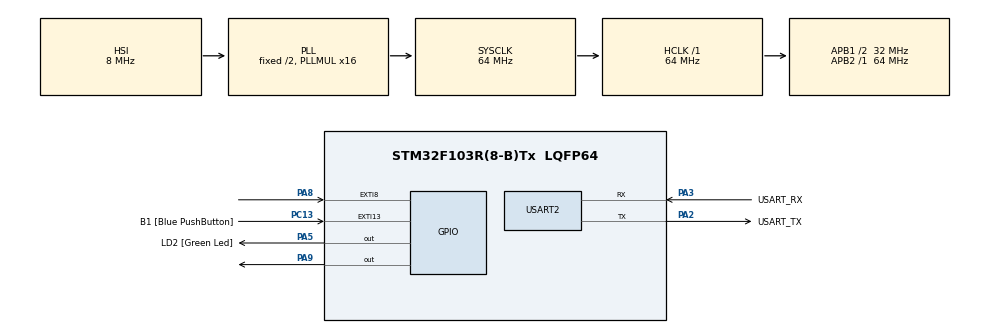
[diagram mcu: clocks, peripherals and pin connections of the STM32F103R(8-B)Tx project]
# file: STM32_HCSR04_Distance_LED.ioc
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Mcu.Family=STM32F1
Mcu.Name=STM32F103R(8-B)Tx
Mcu.Package=LQFP64
NVIC.EXTI15_10_IRQn=true\:0\:0\:false\:false\:true\:true\:true\:true
NVIC.EXTI9_5_IRQn=true\:0\:0\:false\:false\:true\:true\:true\:true
NVIC.PriorityGroup=NVIC_PRIORITYGROUP_4
PA13.GPIO_Label=TMS
PA13.Mode=Serial_Wire
PA13.Signal=SYS_JTMS-SWDIO
PA14.GPIO_Label=TCK
PA14.Mode=Serial_Wire
PA14.Signal=SYS_JTCK-SWCLK
PA2.GPIO_Label=USART_TX
PA2.GPIO_Mode=GPIO_MODE_AF_PP
PA2.GPIO_PuPd=GPIO_NOPULL
PA2.GPIO_Speed=GPIO_SPEED_FREQ_LOW
PA2.Mode=Asynchronous
PA2.Signal=USART2_TX
PA3.GPIO_Label=USART_RX
PA3.GPIO_Mode=GPIO_MODE_AF_PP
PA3.GPIO_PuPd=GPIO_NOPULL
PA3.GPIO_Speed=GPIO_SPEED_FREQ_LOW
PA3.Mode=Asynchronous
PA3.Signal=USART2_RX
PA5.GPIO_Label=LD2 [Green Led]
PA5.GPIO_ModeDefaultOutputPP=GPIO_MODE_OUTPUT_PP
PA5.GPIO_PuPd=GPIO_NOPULL
PA5.GPIO_Speed=GPIO_SPEED_FREQ_LOW
PA5.Signal=GPIO_Output
PA8.GPIO_PuPd=GPIO_PULLDOWN
PA8.Signal=GPXTI8
PA9.Signal=GPIO_Output
PB3.GPIO_Label=SWO
PB3.Signal=SYS_JTDO-TRACESWO
PC13-TAMPER-RTC.GPIO_Label=B1 [Blue PushButton]
PC13-TAMPER-RTC.GPIO_PuPd=GPIO_NOPULL
PC13-TAMPER-RTC.Signal=GPXTI13
PC14-OSC32_IN.Mode=LSE-External-Oscillator
PC14-OSC32_IN.Signal=RCC_OSC32_IN
PC15-OSC32_OUT.Mode=LSE-External-Oscillator
PC15-OSC32_OUT.Signal=RCC_OSC32_OUT
PD0-OSC_IN.Mode=HSE-External-Clock-Source
PD0-OSC_IN.Signal=RCC_OSC_IN
PD1-OSC_OUT.Mode=HSE-External-Clock-Source
PD1-OSC_OUT.Signal=RCC_OSC_OUT
ProjectManager.HeapSize=0x200
ProjectManager.StackSize=0x400
ProjectManager.TargetToolchain=STM32CubeIDE
RCC.AHBFreq_Value=64000000
RCC.APB1CLKDivider=RCC_HCLK_DIV2
RCC.APB1Freq_Value=32000000
RCC.APB1TimFreq_Value=64000000
RCC.APB2Freq_Value=64000000
RCC.APB2TimFreq_Value=64000000
RCC.HCLKFreq_Value=64000000
RCC.PLLMUL=RCC_PLL_MUL16
RCC.RTCClockSelection=RCC_RTCCLKSOURCE_LSE
RCC.SYSCLKFreq_VALUE=64000000
RCC.SYSCLKSource=RCC_SYSCLKSOURCE_PLLCLK
RCC.USBFreq_Value=64000000
TIM2.Prescaler=72-1
USART2.VirtualMode=VM_ASYNC
VP_TIM2_VS_ClockSourceINT.Mode=Internal
board=NUCLEO-F103RB

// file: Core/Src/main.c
/* USER CODE BEGIN Header */
/**
  ******************************************************************************
  * @file           : main.c
  * @brief          : Main program body
  ******************************************************************************
  * @attention
  *
  * Copyright (c) 2025 STMicroelectronics.
  * All rights reserved.
  *
  * This software is licensed under terms that can be found in the LICENSE file
  * in the root directory of this software component.
  * If no LICENSE file comes with this software, it is provided AS-IS.
  *
  ******************************************************************************
  */
/* USER CODE END Header */
#include "main.h"

/* USER CODE BEGIN Includes */

#include <stdio.h>

/* USER CODE END Includes */

TIM_HandleTypeDef htim2;

UART_HandleTypeDef huart2;

/* USER CODE BEGIN PV */

extern TIM_HandleTypeDef htim2;
extern UART_HandleTypeDef huart2;

volatile uint32_t echo_rise_us = 0;
volatile uint32_t echo_fall_us = 0;
volatile uint8_t  echo_done = 0;

/* USER CODE END PV */

void SystemClock_Config(void);
static void MX_GPIO_Init(void);
static void MX_USART2_UART_Init(void);
static void MX_TIM2_Init(void);

/* USER CODE BEGIN 0 */

static inline uint32_t micros(void) { return __HAL_TIM_GET_COUNTER(&htim2); }

static void HCSR04_Trigger(void) {
  HAL_GPIO_WritePin(GPIOA, GPIO_PIN_9, GPIO_PIN_SET);
  uint32_t t0 = micros();
  while ((uint32_t)(micros() - t0) < 12);  // >=10us
  HAL_GPIO_WritePin(GPIOA, GPIO_PIN_9, GPIO_PIN_RESET);
}

// EXTI 콜백: PA8의 상승/하강 에지에서 불림
void HAL_GPIO_EXTI_Callback(uint16_t GPIO_Pin) {
  if (GPIO_Pin == GPIO_PIN_8) {
    if (HAL_GPIO_ReadPin(GPIOA, GPIO_PIN_8) == GPIO_PIN_SET) {
      // Rising edge
      echo_rise_us = micros();
      echo_done = 0;
      HAL_GPIO_WritePin(GPIOA, GPIO_PIN_5, GPIO_PIN_SET);   // ★ 상승: LED ON
    } else {
      // Falling edge
      echo_fall_us = micros();
      echo_done = 1;  // 한 번 측정 완료
      HAL_GPIO_WritePin(GPIOA, GPIO_PIN_5, GPIO_PIN_RESET); // ★ 하강: LED OFF
    }
  }
}

/* USER CODE END 0 */

int main(void)
{

  /* MCU Configuration--------------------------------------------------------*/

  /* Reset of all peripherals, Initializes the Flash interface and the Systick. */
  HAL_Init();

  /* Configure the system clock */
  SystemClock_Config();

  /* Initialize all configured peripherals */
  MX_GPIO_Init();
  MX_USART2_UART_Init();
  MX_TIM2_Init();
  /* USER CODE BEGIN 2 */

  HAL_TIM_Base_Start(&htim2);
  char msg[64];
  /* USER CODE END 2 */

  /* Infinite loop */
  /* USER CODE BEGIN WHILE */
  while (1) {
      // (1) 트리거 전 Echo가 LOW인지 잠깐 정리
      uint32_t t = micros();
      while (HAL_GPIO_ReadPin(GPIOA, GPIO_PIN_8) == GPIO_PIN_SET) {
        if ((uint32_t)(micros() - t) > 2000) break;  // 2ms 넘으면 진행
      }

      // (2) 트리거
      __HAL_TIM_SET_COUNTER(&htim2, 0); //카운터 리셋
      HCSR04_Trigger();

      // (3) 측정 대기: 상승/하강이 모두 들어와 echo_done==1이 되길 40ms까지 기다림
      uint32_t wait_start = micros();
      while (!echo_done && (uint32_t)(micros() - wait_start) < 40000) { /* wait */ }

      float d = -1.0f;
      if (echo_done) {
        uint32_t pulse = (uint32_t)(echo_fall_us - echo_rise_us); // us
        // 말도 안 되게 긴 펄스는 무시
        if (pulse > 250 && pulse < 35000) {
          d = (pulse * 0.0343f) * 0.5f;  // cm
        } else {
          d = -2.0f;
        }
      } else {
        d = -1.0f; // 상승/하강 중 하나라도 못 본 경우
      }
      echo_done = 0;  // 다음 측정 대비

      // (4) UART 출력
      int n;
      if (d >= 0.0f) n = snprintf(msg, sizeof(msg), "Distance: %.2f cm\r\n", d);
      else           n = snprintf(msg, sizeof(msg), "Distance: out of range (%.0f)\r\n", d);
      HAL_UART_Transmit(&huart2, (uint8_t*)msg, n, 50);

      // (5) 10cm 조건 LED
      if (d > 0 && d < 10.0f) HAL_GPIO_WritePin(GPIOA, GPIO_PIN_5, GPIO_PIN_SET);
      else                    HAL_GPIO_WritePin(GPIOA, GPIO_PIN_5, GPIO_PIN_RESET);

      HAL_Delay(80); // 권장 주기(>=60ms)보다 여유
    }
    /* USER CODE END WHILE */

  }

void SystemClock_Config(void)
{
  RCC_OscInitTypeDef RCC_OscInitStruct = {0};
  RCC_ClkInitTypeDef RCC_ClkInitStruct = {0};

  /** Initializes the RCC Oscillators according to the specified parameters
  * in the RCC_OscInitTypeDef structure.
  */
  RCC_OscInitStruct.OscillatorType = RCC_OSCILLATORTYPE_HSI;
  RCC_OscInitStruct.HSIState = RCC_HSI_ON;
  RCC_OscInitStruct.HSICalibrationValue = RCC_HSICALIBRATION_DEFAULT;
  RCC_OscInitStruct.PLL.PLLState = RCC_PLL_ON;
  RCC_OscInitStruct.PLL.PLLSource = RCC_PLLSOURCE_HSI_DIV2;
  RCC_OscInitStruct.PLL.PLLMUL = RCC_PLL_MUL16;
  if (HAL_RCC_OscConfig(&RCC_OscInitStruct) != HAL_OK)
  {
    Error_Handler();
  }

  /** Initializes the CPU, AHB and APB buses clocks
  */
  RCC_ClkInitStruct.ClockType = RCC_CLOCKTYPE_HCLK|RCC_CLOCKTYPE_SYSCLK
                              |RCC_CLOCKTYPE_PCLK1|RCC_CLOCKTYPE_PCLK2;
  RCC_ClkInitStruct.SYSCLKSource = RCC_SYSCLKSOURCE_PLLCLK;
  RCC_ClkInitStruct.AHBCLKDivider = RCC_SYSCLK_DIV1;
  RCC_ClkInitStruct.APB1CLKDivider = RCC_HCLK_DIV2;
  RCC_ClkInitStruct.APB2CLKDivider = RCC_HCLK_DIV1;

  if (HAL_RCC_ClockConfig(&RCC_ClkInitStruct, FLASH_LATENCY_2) != HAL_OK)
  {
    Error_Handler();
  }
}

static void MX_TIM2_Init(void)
{

  TIM_ClockConfigTypeDef sClockSourceConfig = {0};
  TIM_MasterConfigTypeDef sMasterConfig = {0};

  htim2.Instance = TIM2;
  htim2.Init.Prescaler = 64-1;
  htim2.Init.CounterMode = TIM_COUNTERMODE_UP;
  htim2.Init.Period = 65535;
  htim2.Init.ClockDivision = TIM_CLOCKDIVISION_DIV1;
  htim2.Init.AutoReloadPreload = TIM_AUTORELOAD_PRELOAD_DISABLE;
  if (HAL_TIM_Base_Init(&htim2) != HAL_OK)
  {
    Error_Handler();
  }
  sClockSourceConfig.ClockSource = TIM_CLOCKSOURCE_INTERNAL;
  if (HAL_TIM_ConfigClockSource(&htim2, &sClockSourceConfig) != HAL_OK)
  {
    Error_Handler();
  }
  sMasterConfig.MasterOutputTrigger = TIM_TRGO_RESET;
  sMasterConfig.MasterSlaveMode = TIM_MASTERSLAVEMODE_DISABLE;
  if (HAL_TIMEx_MasterConfigSynchronization(&htim2, &sMasterConfig) != HAL_OK)
  {
    Error_Handler();
  }

}

static void MX_USART2_UART_Init(void)
{

  huart2.Instance = USART2;
  huart2.Init.BaudRate = 115200;
  huart2.Init.WordLength = UART_WORDLENGTH_8B;
  huart2.Init.StopBits = UART_STOPBITS_1;
  huart2.Init.Parity = UART_PARITY_NONE;
  huart2.Init.Mode = UART_MODE_TX_RX;
  huart2.Init.HwFlowCtl = UART_HWCONTROL_NONE;
  huart2.Init.OverSampling = UART_OVERSAMPLING_16;
  if (HAL_UART_Init(&huart2) != HAL_OK)
  {
    Error_Handler();
  }

}

static void MX_GPIO_Init(void)
{
  GPIO_InitTypeDef GPIO_InitStruct = {0};

  /* GPIO Ports Clock Enable */
  __HAL_RCC_AFIO_CLK_ENABLE();
  __HAL_RCC_GPIOC_CLK_ENABLE();
  __HAL_RCC_GPIOD_CLK_ENABLE();
  __HAL_RCC_GPIOA_CLK_ENABLE();
  __HAL_RCC_GPIOB_CLK_ENABLE();

  /*Configure GPIO pin Output Level */
  HAL_GPIO_WritePin(GPIOA, LD2_Pin|GPIO_PIN_9, GPIO_PIN_RESET);

  /*Configure GPIO pin : B1_Pin */
  GPIO_InitStruct.Pin = B1_Pin;
  GPIO_InitStruct.Mode = GPIO_MODE_IT_RISING;
  GPIO_InitStruct.Pull = GPIO_NOPULL;
  HAL_GPIO_Init(B1_GPIO_Port, &GPIO_InitStruct);

  /*Configure GPIO pins : LD2_Pin PA9 */
  GPIO_InitStruct.Pin = LD2_Pin|GPIO_PIN_9;
  GPIO_InitStruct.Mode = GPIO_MODE_OUTPUT_PP;
  GPIO_InitStruct.Pull = GPIO_NOPULL;
  GPIO_InitStruct.Speed = GPIO_SPEED_FREQ_LOW;
  HAL_GPIO_Init(GPIOA, &GPIO_InitStruct);

  /*Configure GPIO pin : PA8 */
  GPIO_InitStruct.Pin = GPIO_PIN_8;
  GPIO_InitStruct.Mode = GPIO_MODE_IT_RISING_FALLING;
  GPIO_InitStruct.Pull = GPIO_PULLDOWN;
  HAL_GPIO_Init(GPIOA, &GPIO_InitStruct);

  /* EXTI interrupt init*/
  HAL_NVIC_SetPriority(EXTI9_5_IRQn, 0, 0);
  HAL_NVIC_EnableIRQ(EXTI9_5_IRQn);

  HAL_NVIC_SetPriority(EXTI15_10_IRQn, 0, 0);
  HAL_NVIC_EnableIRQ(EXTI15_10_IRQn);

}

void Error_Handler(void)
{
  __disable_irq();
  while (1)
  {
  }
}
